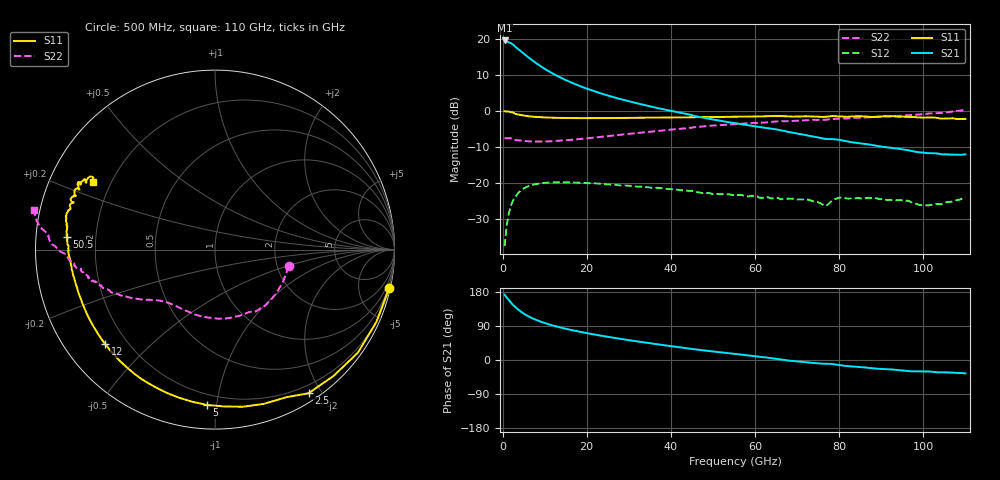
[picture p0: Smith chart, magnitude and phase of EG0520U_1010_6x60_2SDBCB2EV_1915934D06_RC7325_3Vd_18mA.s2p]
!File name = EG0520U_1010_6x60_2SDBCB2EV_1915934D06_RC7325_3Vd_18mA.s2p
!Base file name = EG0520U_1010_6x60_2SDBCB2EV_1915934D06_RC7325
!Date = 8/23/2019
!Time = 1:08 PM
!Test duration(min) = 0.15
!Test = S-Parameters
!MPTS version = 8.91.5
!State File = C:\Data\PNA\20190821205423\S-Parameters_2019-08-23.sta
!Cal File =
!ComputerName = CMPE-LAB-6
!Comments =
!Attenuation = 0
!Z0 = 50
!Input Power(dBm) = -13.00
!Device ID = EG0520U_1010_6x60_2SDBCB2EV
!Row = 73
!Column = 25
!Technology = QPHT09
!Lot/Wafer = 1915934D06
!Gate Size = 360
!Mask = EG0520
!Cal Standards = GaAs BCB
!Cal Kit = EG2306
!Job Number = 20190821205423
!Device Type = FET
!set_Vg(v) = -1.500
!set_Vd(v) = 3.000
!set_Vd(mA) = 18.000
!file_name = EG0520U_1010_6x60_2SDBCB2EV_1915934D06_RC7325_3Vd_18mA.s2p
!Vd(V) = 3.000
!Vd(mA) = 17.895
!Vg(V) = -0.647
!Vg(mA) = -0.004
# GHz  S  DB  R  50
!%	Freq(GHz)  s11(dB)  s11(deg)  s21(dB)  s21(deg)  s12(dB)  s12(deg)  s22(dB)  s22(deg)
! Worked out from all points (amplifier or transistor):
!   220 points, 500 MHz to 110 GHz, reference 50 ohm
!   highest |S21| = 19.6 dB at 500 MHz (marker M1)
!   |S21| within 3 dB of that: start of sweep to 4.368 GHz
!   unconditionally stable (mu >= 1): 39.47425 GHz to 39.53907 GHz; 40.27 GHz to 104.5 GHz
!   at 18.5 GHz: K = 0.47, MSG = 13.4 dB, |S12| = -19.9 dB
!   at 55.5 GHz: K = 1.35, MAG = 6.4 dB, |S12| = -23.3 dB
!   at 110 GHz: K = -1.58, MSG = 6.0 dB, |S12| = -23.9 dB
!   S11 on the Smith chart (normalised r, x): 500 MHz: 0.25, -9.30; 2.5 GHz: 0.10, -1.84; 5 GHz: 0.14, -0.94; 12 GHz: 0.12, -0.37; 50.5 GHz: 0.09, +0.04; 110 GHz: 0.13, +0.25
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0.5  -0.05 -12.3  19.58 172.3  -37.49 81.8  -7.52 -12.6
1  -0.13 -24.3  19.29 164.5  -31.66 75.3  -7.56 -24.4
2  -0.31 -46.7  18.81 151.2  -26.29 62.4  -7.55 -47.4
2.5  -0.40 -56.9  18.45 145.4  -24.82 57.0  -7.70 -57.0
3  -0.78 -64.1  17.85 140.2  -23.93 52.7  -8.03 -61.1
3.5  -0.90 -72.5  17.42 135.3  -23.08 48.3  -8.10 -68.6
4.5  -1.16 -86.8  16.45 126.5  -21.91 40.7  -8.22 -81.8
5  -1.24 -92.9  15.97 122.9  -21.50 37.5  -8.28 -87.3
6  -1.42 -103.7  15.03 116.2  -20.92 32.0  -8.40 -96.6
7.5  -1.60 -116.2  13.69 108.0  -20.38 25.5  -8.45 -107.2
9.5  -1.75 -128.4  12.10 99.5  -19.97 19.1  -8.46 -116.4
12  -1.86 -139.4  10.37 90.9  -19.79 13.0  -8.35 -124.5
15  -1.93 -148.6  8.61 82.5  -19.78 7.7  -8.11 -130.8
19  -1.97 -157.1  6.66 73.1  -19.91 2.2  -7.68 -136.1
27  -1.94 -167.7  3.64 57.6  -20.47 -4.8  -6.71 -142.8
37  -1.83 -176.0  0.80 41.0  -21.31 -9.7  -5.50 -149.3
50.5  -1.65 175.1  -2.43 22.0  -23.07 -13.7  -4.01 -158.7
55.5  -1.59 172.0  -3.40 15.7  -23.31 -15.5  -3.60 -161.3
73.5  -1.52 162.1  -7.01 -7.5  -24.91 -23.1  -2.44 -170.8
92  -1.45 153.8  -10.16 -24.8  -24.65 -31.0  -1.49 -178.6
101  -1.79 152.5  -11.68 -30.4  -26.20 -32.3  -0.73 177.1
110  -2.19 151.1  -12.01 -35.2  -23.92 -28.1  0.29 167.7
